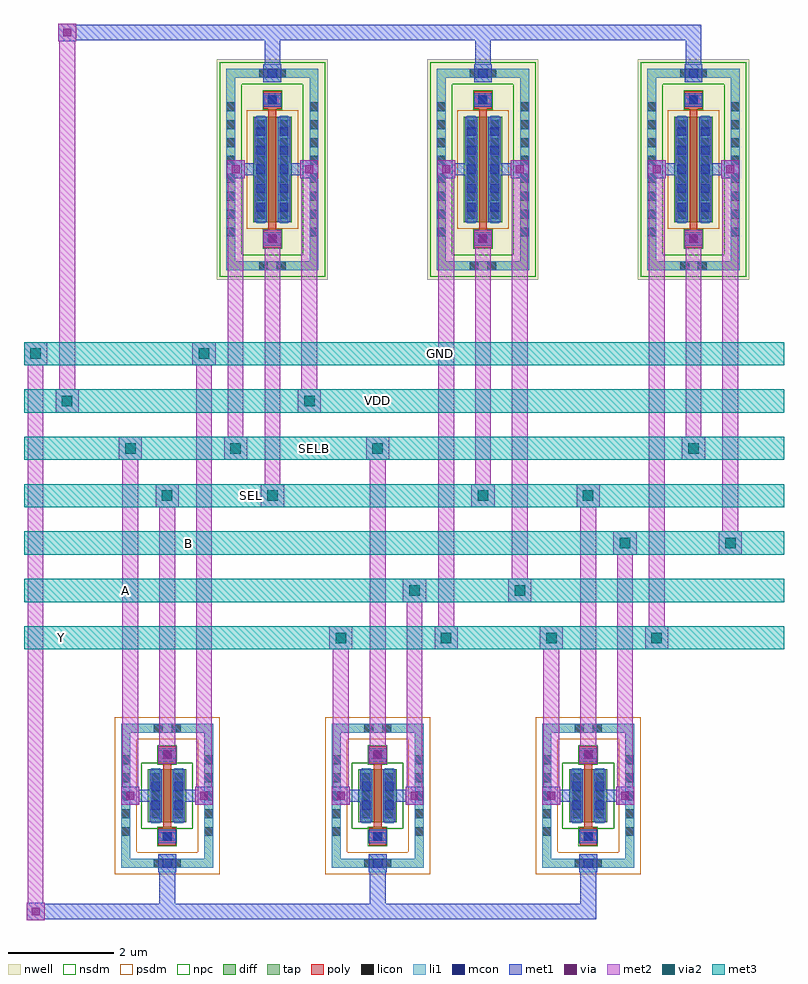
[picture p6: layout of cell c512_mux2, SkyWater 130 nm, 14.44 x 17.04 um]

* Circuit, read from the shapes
.subckt c512_mux2 A B GND SEL SELB VDD Y
XM1 GND SEL SELB GND sky130_fd_pr__nfet_01v8 w=1 l=0.15
XM2 A SELB Y GND sky130_fd_pr__nfet_01v8 w=1 l=0.15
XM3 B SEL Y GND sky130_fd_pr__nfet_01v8 w=1 l=0.15
XM4 VDD SEL SELB VDD sky130_fd_pr__pfet_01v8 w=2 l=0.15
XM5 A SEL Y VDD sky130_fd_pr__pfet_01v8 w=2 l=0.15
XM6 B SELB Y VDD sky130_fd_pr__pfet_01v8 w=2 l=0.15
.ends

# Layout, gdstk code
import gdstk
lib = gdstk.Library(unit=1e-6, precision=1e-09)
def R(c, l, rs):  # rectangles x0, y0, x1, y1
    for r in rs: c.add(gdstk.rectangle(r[:2], r[2:], *l))
def A(c, l, x, y, w, h, nx, ny, dx, dy):  # array of equal rectangles
    R(c, l, [(x+i*dx, y+j*dy, x+i*dx+w, y+j*dy+h) for i in range(nx) for j in range(ny)])
nwell = (64, 20)
diff = (65, 20)
tap = (65, 44)
poly = (66, 20)
licon = (66, 44)
li1 = (67, 20)
mcon = (67, 44)
met1 = (68, 20)
via = (68, 44)
met2 = (69, 20)
via2 = (69, 44)
met3 = (70, 20)
nsdm = (93, 44)
psdm = (94, 20)
npc = (95, 20)

c512_mux2 = lib.new_cell('c512_mux2')
A(c512_mux2, nwell, 3.945, 9.805, 2.11, 4.19, 3, 1, 4, 0)
A(c512_mux2, diff, 2.635, -0.5, 0.73, 1, 3, 1, 4, 0)
A(c512_mux2, diff, 4.635, 10.9, 0.73, 2, 3, 1, 4, 0)
A(c512_mux2, tap, 2.125, -1.37, 1.75, 0.17, 3, 2, 4, 2.57)
A(c512_mux2, tap, 4.125, 9.985, 1.75, 0.17, 3, 2, 4, 3.66)
R(c512_mux2, tap, [(2.125,-1.2,2.295,1.2), (3.705,-1.2,3.875,1.2), (6.125,-1.2,6.295,1.2), (7.705,-1.2,7.875,1.2), (10.125,-1.2,10.295,1.2), (11.705,-1.2,11.875,1.2), (4.125,10.155,4.295,13.645), (5.705,10.155,5.875,13.645), (8.125,10.155,8.295,13.645), (9.705,10.155,9.875,13.645), (12.125,10.155,12.295,13.645), (13.705,10.155,13.875,13.645)])
A(c512_mux2, poly, 2.835, -0.94, 0.33, 0.33, 3, 2, 4, 1.55)
A(c512_mux2, poly, 2.925, -0.61, 0.15, 1.22, 3, 1, 4, 0)
A(c512_mux2, poly, 4.835, 10.415, 0.33, 0.33, 3, 2, 4, 2.64)
A(c512_mux2, poly, 4.925, 10.745, 0.15, 2.31, 3, 1, 4, 0)
A(c512_mux2, licon, 2.915, -0.86, 0.17, 0.17, 3, 2, 4, 1.55)
A(c512_mux2, licon, 2.125, -0.765, 0.17, 0.17, 1, 5, 0, 0.34)
A(c512_mux2, licon, 3.705, -0.765, 0.17, 0.17, 1, 5, 0, 0.34)
A(c512_mux2, licon, 6.125, -0.765, 0.17, 0.17, 1, 5, 0, 0.34)
A(c512_mux2, licon, 7.705, -0.765, 0.17, 0.17, 1, 5, 0, 0.34)
A(c512_mux2, licon, 10.125, -0.765, 0.17, 0.17, 1, 5, 0, 0.34)
A(c512_mux2, licon, 11.705, -0.765, 0.17, 0.17, 1, 5, 0, 0.34)
A(c512_mux2, licon, 2.695, -0.425, 0.17, 0.17, 1, 3, 0, 0.34)
A(c512_mux2, licon, 3.135, -0.425, 0.17, 0.17, 1, 3, 0, 0.34)
A(c512_mux2, licon, 6.695, -0.425, 0.17, 0.17, 1, 3, 0, 0.34)
A(c512_mux2, licon, 7.135, -0.425, 0.17, 0.17, 1, 3, 0, 0.34)
A(c512_mux2, licon, 10.695, -0.425, 0.17, 0.17, 1, 3, 0, 0.34)
A(c512_mux2, licon, 11.135, -0.425, 0.17, 0.17, 1, 3, 0, 0.34)
A(c512_mux2, licon, 4.915, 10.495, 0.17, 0.17, 3, 2, 4, 2.64)
A(c512_mux2, licon, 4.125, 10.625, 0.17, 0.17, 1, 8, 0, 0.34)
A(c512_mux2, licon, 5.705, 10.625, 0.17, 0.17, 1, 8, 0, 0.34)
A(c512_mux2, licon, 8.125, 10.625, 0.17, 0.17, 1, 8, 0, 0.34)
A(c512_mux2, licon, 9.705, 10.625, 0.17, 0.17, 1, 8, 0, 0.34)
A(c512_mux2, licon, 12.125, 10.625, 0.17, 0.17, 1, 8, 0, 0.34)
A(c512_mux2, licon, 13.705, 10.625, 0.17, 0.17, 1, 8, 0, 0.34)
A(c512_mux2, licon, 4.695, 10.965, 0.17, 0.17, 1, 6, 0, 0.34)
A(c512_mux2, licon, 5.135, 10.965, 0.17, 0.17, 1, 6, 0, 0.34)
A(c512_mux2, licon, 8.695, 10.965, 0.17, 0.17, 1, 6, 0, 0.34)
A(c512_mux2, licon, 9.135, 10.965, 0.17, 0.17, 1, 6, 0, 0.34)
A(c512_mux2, licon, 12.695, 10.965, 0.17, 0.17, 1, 6, 0, 0.34)
A(c512_mux2, licon, 13.135, 10.965, 0.17, 0.17, 1, 6, 0, 0.34)
R(c512_mux2, licon, [(2.745,-1.37,2.915,-1.2), (3.085,-1.37,3.255,-1.2), (6.745,-1.37,6.915,-1.2), (7.085,-1.37,7.255,-1.2), (10.745,-1.37,10.915,-1.2), (11.085,-1.37,11.255,-1.2), (2.745,1.2,2.915,1.37), (3.085,1.2,3.255,1.37), (6.745,1.2,6.915,1.37), (7.085,1.2,7.255,1.37), (10.745,1.2,10.915,1.37), (11.085,1.2,11.255,1.37), (4.745,9.985,4.915,10.155), (5.085,9.985,5.255,10.155), (8.745,9.985,8.915,10.155), (9.085,9.985,9.255,10.155), (12.745,9.985,12.915,10.155), (13.085,9.985,13.255,10.155), (4.745,13.645,4.915,13.815), (5.085,13.645,5.255,13.815), (8.745,13.645,8.915,13.815), (9.085,13.645,9.255,13.815), (12.745,13.645,12.915,13.815), (13.085,13.645,13.255,13.815)])
A(c512_mux2, li1, 2.83, -1.455, 0.34, 0.085, 3, 2, 4, 0.255)
A(c512_mux2, li1, 2.125, -1.37, 1.75, 0.17, 3, 2, 4, 2.57)
A(c512_mux2, li1, 2.835, -0.86, 0.33, 0.17, 3, 2, 4, 1.55)
A(c512_mux2, li1, 4.125, 9.985, 1.75, 0.17, 3, 2, 4, 3.66)
A(c512_mux2, li1, 4.835, 10.495, 0.33, 0.17, 3, 2, 4, 2.64)
A(c512_mux2, li1, 4.83, 13.56, 0.34, 0.085, 3, 2, 4, 0.255)
R(c512_mux2, li1, [(2.125,-1.2,2.295,1.2), (3.705,-1.2,3.875,1.2), (6.125,-1.2,6.295,1.2), (7.705,-1.2,7.875,1.2), (10.125,-1.2,10.295,1.2), (11.705,-1.2,11.875,1.2), (2.695,-0.52,2.865,0.52), (3.135,-0.52,3.305,0.52), (6.695,-0.52,6.865,0.52), (7.135,-0.52,7.305,0.52), (10.695,-0.52,10.865,0.52), (11.135,-0.52,11.305,0.52), (4.125,10.155,4.295,13.645), (5.705,10.155,5.875,13.645), (8.125,10.155,8.295,13.645), (9.705,10.155,9.875,13.645), (12.125,10.155,12.295,13.645), (13.705,10.155,13.875,13.645), (4.695,10.88,4.865,12.92), (5.135,10.88,5.305,12.92), (8.695,10.88,8.865,12.92), (9.135,10.88,9.305,12.92), (12.695,10.88,12.865,12.92), (13.135,10.88,13.305,12.92)])
A(c512_mux2, mcon, 2.915, -1.37, 0.17, 0.17, 3, 2, 4, 0.51)
A(c512_mux2, mcon, 2.915, 0.69, 0.17, 0.17, 3, 1, 4, 0)
A(c512_mux2, mcon, 4.915, 10.495, 0.17, 0.17, 3, 2, 4, 2.64)
A(c512_mux2, mcon, 4.695, 11.095, 0.17, 0.17, 1, 5, 0, 0.36)
A(c512_mux2, mcon, 5.135, 11.095, 0.17, 0.17, 1, 5, 0, 0.36)
A(c512_mux2, mcon, 8.695, 11.095, 0.17, 0.17, 1, 5, 0, 0.36)
A(c512_mux2, mcon, 9.135, 11.095, 0.17, 0.17, 1, 5, 0, 0.36)
A(c512_mux2, mcon, 12.695, 11.095, 0.17, 0.17, 1, 5, 0, 0.36)
A(c512_mux2, mcon, 13.135, 11.095, 0.17, 0.17, 1, 5, 0, 0.36)
A(c512_mux2, mcon, 4.915, 13.645, 0.17, 0.17, 3, 1, 4, 0)
R(c512_mux2, mcon, [(2.695,-0.265,2.865,-0.095), (3.135,-0.265,3.305,-0.095), (6.695,-0.265,6.865,-0.095), (7.135,-0.265,7.305,-0.095), (10.695,-0.265,10.865,-0.095), (11.135,-0.265,11.305,-0.095), (2.695,0.095,2.865,0.265), (3.135,0.095,3.305,0.265), (6.695,0.095,6.865,0.265), (7.135,0.095,7.305,0.265), (10.695,0.095,10.865,0.265), (11.135,0.095,11.305,0.265)])
A(c512_mux2, met1, 2.85, -2.05, 0.3, 0.595, 3, 1, 4, 0)
A(c512_mux2, met1, 2.83, -1.455, 0.34, 0.34, 3, 1, 4, 0)
A(c512_mux2, met1, 2.83, -0.905, 0.34, 0.26, 3, 2, 4, 1.55)
A(c512_mux2, met1, 4.83, 10.45, 0.34, 0.26, 3, 2, 4, 2.64)
A(c512_mux2, met1, 4.83, 13.56, 0.34, 0.34, 3, 1, 4, 0)
A(c512_mux2, met1, 4.85, 13.9, 0.3, 0.45, 3, 1, 4, 0)
R(c512_mux2, met1, [(0.33,-2.37,0.67,-2.35), (0.33,-2.35,11.15,-2.05), (0.33,-2.05,0.67,-2.03), (2.665,-0.5,2.895,-0.115), (3.105,-0.5,3.335,-0.115), (6.665,-0.5,6.895,-0.115), (7.105,-0.5,7.335,-0.115), (10.665,-0.5,10.895,-0.115), (11.105,-0.5,11.335,-0.115), (2.13,-0.17,2.47,-0.115), (3.53,-0.17,3.87,-0.115), (6.13,-0.17,6.47,-0.115), (7.53,-0.17,7.87,-0.115), (10.13,-0.17,10.47,-0.115), (11.53,-0.17,11.87,-0.115), (2.13,-0.115,2.895,0.115), (3.105,-0.115,3.87,0.115), (6.13,-0.115,6.895,0.115), (7.105,-0.115,7.87,0.115), (10.13,-0.115,10.895,0.115), (11.105,-0.115,11.87,0.115), (2.13,0.115,2.47,0.17), (2.665,0.115,2.895,0.5), (3.105,0.115,3.335,0.5), (3.53,0.115,3.87,0.17), (6.13,0.115,6.47,0.17), (6.665,0.115,6.895,0.5), (7.105,0.115,7.335,0.5), (7.53,0.115,7.87,0.17), (10.13,0.115,10.47,0.17), (10.665,0.115,10.895,0.5), (11.105,0.115,11.335,0.5), (11.53,0.115,11.87,0.17), (4.665,10.9,4.895,11.785), (5.105,10.9,5.335,11.785), (8.665,10.9,8.895,11.785), (9.105,10.9,9.335,11.785), (12.665,10.9,12.895,11.785), (13.105,10.9,13.335,11.785), (4.13,11.73,4.47,11.785), (5.53,11.73,5.87,11.785), (8.13,11.73,8.47,11.785), (9.53,11.73,9.87,11.785), (12.13,11.73,12.47,11.785), (13.53,11.73,13.87,11.785), (4.13,11.785,4.895,12.015), (5.105,11.785,5.87,12.015), (8.13,11.785,8.895,12.015), (9.105,11.785,9.87,12.015), (12.13,11.785,12.895,12.015), (13.105,11.785,13.87,12.015), (4.13,12.015,4.47,12.07), (4.665,12.015,4.895,12.9), (5.105,12.015,5.335,12.9), (5.53,12.015,5.87,12.07), (8.13,12.015,8.47,12.07), (8.665,12.015,8.895,12.9), (9.105,12.015,9.335,12.9), (9.53,12.015,9.87,12.07), (12.13,12.015,12.47,12.07), (12.665,12.015,12.895,12.9), (13.105,12.015,13.335,12.9), (13.53,12.015,13.87,12.07), (0.93,14.33,1.27,14.35), (0.93,14.35,13.15,14.65), (0.93,14.65,1.27,14.67)])
A(c512_mux2, via, 2.925, 0.7, 0.15, 0.15, 3, 1, 4, 0)
A(c512_mux2, via, 4.925, 10.505, 0.15, 0.15, 3, 1, 4, 0)
R(c512_mux2, via, [(0.425,-2.275,0.575,-2.125), (2.225,-0.075,2.375,0.075), (3.625,-0.075,3.775,0.075), (6.225,-0.075,6.375,0.075), (7.625,-0.075,7.775,0.075), (10.225,-0.075,10.375,0.075), (11.625,-0.075,11.775,0.075), (4.225,11.825,4.375,11.975), (5.625,11.825,5.775,11.975), (8.225,11.825,8.375,11.975), (9.625,11.825,9.775,11.975), (12.225,11.825,12.375,11.975), (13.625,11.825,13.775,11.975), (1.025,14.425,1.175,14.575)])
A(c512_mux2, met2, 2.83, 0.605, 0.34, 0.34, 3, 1, 4, 0)
A(c512_mux2, met2, 6.08, 2.78, 0.44, 0.44, 4, 1, 2, 0)
A(c512_mux2, met2, 4.83, 10.41, 0.34, 0.34, 3, 1, 4, 0)
R(c512_mux2, met2, [(0.33,-2.37,0.67,-2.03), (0.35,-2.03,0.65,8.18), (2.13,-0.17,2.47,0.17), (3.53,-0.17,3.87,0.17), (6.13,-0.17,6.47,0.17), (7.53,-0.17,7.87,0.17), (10.13,-0.17,10.47,0.17), (11.53,-0.17,11.87,0.17), (2.15,0.17,2.45,6.38), (3.55,0.17,3.85,8.18), (6.15,0.17,6.45,2.78), (7.55,0.17,7.85,3.68), (10.15,0.17,10.45,2.78), (11.55,0.17,11.85,4.58), (2.85,0.945,3.15,5.48), (6.85,0.945,7.15,6.38), (10.85,0.945,11.15,5.48), (8.15,3.22,8.45,11.73), (12.15,3.22,12.45,11.73), (7.48,3.68,7.92,4.12), (9.48,3.68,9.92,4.12), (9.55,4.12,9.85,11.73), (11.48,4.58,11.92,5.02), (13.48,4.58,13.92,5.02), (13.55,5.02,13.85,11.73), (2.78,5.48,3.22,5.92), (4.78,5.48,5.22,5.92), (8.78,5.48,9.22,5.92), (10.78,5.48,11.22,5.92), (4.85,5.92,5.15,10.41), (8.85,5.92,9.15,10.41), (2.08,6.38,2.52,6.82), (4.08,6.38,4.52,6.82), (6.78,6.38,7.22,6.82), (12.78,6.38,13.22,6.82), (4.15,6.82,4.45,11.73), (12.85,6.82,13.15,10.41), (0.88,7.28,1.32,7.72), (5.48,7.28,5.92,7.72), (0.95,7.72,1.25,14.33), (5.55,7.72,5.85,11.73), (0.28,8.18,0.72,8.62), (3.48,8.18,3.92,8.62), (4.13,11.73,4.47,12.07), (5.53,11.73,5.87,12.07), (8.13,11.73,8.47,12.07), (9.53,11.73,9.87,12.07), (12.13,11.73,12.47,12.07), (13.53,11.73,13.87,12.07), (0.93,14.33,1.27,14.67)])
A(c512_mux2, via2, 6.2, 2.9, 0.2, 0.2, 4, 1, 2, 0)
R(c512_mux2, via2, [(7.6,3.8,7.8,4), (9.6,3.8,9.8,4), (11.6,4.7,11.8,4.9), (13.6,4.7,13.8,4.9), (2.9,5.6,3.1,5.8), (4.9,5.6,5.1,5.8), (8.9,5.6,9.1,5.8), (10.9,5.6,11.1,5.8), (2.2,6.5,2.4,6.7), (4.2,6.5,4.4,6.7), (6.9,6.5,7.1,6.7), (12.9,6.5,13.1,6.7), (1,7.4,1.2,7.6), (5.6,7.4,5.8,7.6), (0.4,8.3,0.6,8.5), (3.6,8.3,3.8,8.5)])
A(c512_mux2, met3, 0.28, 2.78, 14.44, 0.44, 1, 7, 0, 0.9)
A(c512_mux2, nsdm, 2.51, -0.625, 0.98, 1.25, 3, 1, 4, 0)
A(c512_mux2, nsdm, 4, 9.86, 2, 0.42, 3, 2, 4, 3.66)
R(c512_mux2, nsdm, [(4,10.28,4.42,13.52), (5.58,10.28,6,13.52), (8,10.28,8.42,13.52), (9.58,10.28,10,13.52), (12,10.28,12.42,13.52), (13.58,10.28,14,13.52)])
A(c512_mux2, psdm, 2, -1.495, 2, 0.42, 3, 2, 4, 2.57)
A(c512_mux2, psdm, 4.51, 10.775, 0.98, 2.25, 3, 1, 4, 0)
R(c512_mux2, psdm, [(2,-1.075,2.42,1.075), (3.58,-1.075,4,1.075), (6,-1.075,6.42,1.075), (7.58,-1.075,8,1.075), (10,-1.075,10.42,1.075), (11.58,-1.075,12,1.075)])
A(c512_mux2, npc, 2.815, -0.96, 0.37, 0.37, 3, 2, 4, 1.55)
A(c512_mux2, npc, 4.815, 10.395, 0.37, 0.37, 3, 2, 4, 2.64)
c512_mux2.add(gdstk.Label('Y', (1,3), layer=70, texttype=5))
c512_mux2.add(gdstk.Label('A', (2.2,3.9), layer=70, texttype=5))
c512_mux2.add(gdstk.Label('B', (3.4,4.8), layer=70, texttype=5))
c512_mux2.add(gdstk.Label('SEL', (4.6,5.7), layer=70, texttype=5))
c512_mux2.add(gdstk.Label('SELB', (5.8,6.6), layer=70, texttype=5))
c512_mux2.add(gdstk.Label('VDD', (7,7.5), layer=70, texttype=5))
c512_mux2.add(gdstk.Label('GND', (8.2,8.4), layer=70, texttype=5))

lib.write_gds('c512_mux2.gds')
